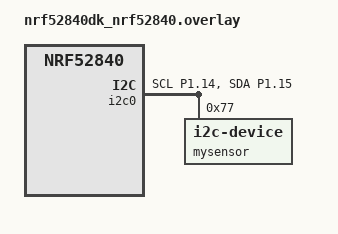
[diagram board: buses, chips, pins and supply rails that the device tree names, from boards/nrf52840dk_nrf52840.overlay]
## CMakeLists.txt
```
cmake_minimum_required(VERSION 3.20.0)

find_package(Zephyr REQUIRED HINTS $ENV{ZEPHYR_BASE}) 
project(sensor_i2c)

target_sources(app PRIVATE src/main.c)
```

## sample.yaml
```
sample:
  name: i2c communication with BME680 sensor 
  description: |
    This sample demonstrates how to communicate with a BME680 sensor over I2C.
    It reads temperature data from the sensor.
    The sample is designed to run on Nucleo F446RE and nRF52840 DK boards.
tests:
  zephyr_apps.i2c:
    tags:
      - i2c
    integration_platforms:
      - nucleo_f446re
      - nrf52840dk/nrf52840
    platform_allow:
      - nucleo_f446re
      - nrf52840dk/nrf52840


# Connection to the Nucleo board
Nucleo_f446re :
# Connection to the Nucleo board
  i2c1:
    pullup:
      SCL: GPIOB_8 #arduino D15
      SDA: GPIOB_9 #arduino D14

nrf52840dk :
# Connection to the Nucleo board
  i2c0:
    pullup:
      SCL: Port P1.14 #arduino D15
      SDA: Port P1.15 #arduino D14
  console:
    /dev/ttyACM0-SEGGER


# Connection to the BME680 sensor
bme680:
  i2c:
    bus: I2C1
    address: 0x77
    SDO: # To GND (0x76) or VCC(0x77): 3.3V
    SDA: # To arduino D14
    SCL: # To arduino D15
    VCC: VCC 5V
    GND: GND

build command:
  west build -p -b nucleo_f446re sensor_i2c/ 
  west build -p -b nrf52840dk/nrf52840 sensor_i2c

flash command:
  nrf52840dk/nrf52840: west flash -r jlink
  nucleo_f446re : west flash
```

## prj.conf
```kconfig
CONFIG_I2C=y
CONFIG_CBPRINTF_FP_SUPPORT=y
```

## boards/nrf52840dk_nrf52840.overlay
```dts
&i2c0 {
    status = "okay";
    pinctrl-0 = <&i2c0_default>;
	pinctrl-1 = <&i2c0_sleep>;
    pinctrl-names = "default", "sleep";
	mysensor: mysensor@77 {
		compatible = "i2c-device";
		status = "okay";
		reg = < 0x77 >;
	};
};

&pinctrl {
	/omit-if-no-ref/ i2c0_default: i2c0_default {
		group1  {
			psels = <NRF_PSEL(TWIM_SCL, 1, 14)>,
					<NRF_PSEL(TWIM_SDA, 1, 15)>;
		};
	};

	/omit-if-no-ref/ i2c0_sleep: i2c0_sleep {
		group1  {
			psels = <NRF_PSEL(TWIM_SCL, 1, 14)>,
					<NRF_PSEL(TWIM_SDA, 1, 15)>;
			low-power-enable;
		};
	};
};
```

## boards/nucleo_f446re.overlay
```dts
&i2c1 {
    mysensor: bme680@77 {
        compatible = "bosch,bme680";
        reg = <0x77>;  /* 0x76 or 0x77 depending on your sensor wiring */
        label = "BME680";
    };
};
```

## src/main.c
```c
#include <zephyr/kernel.h>
#include <zephyr/device.h>
#include <zephyr/devicetree.h>
#include <zephyr/sys/printk.h>
#include <zephyr/drivers/i2c.h>

/* Define the label of the sensor (should match your overlay or board definition) */
#define BME680_NODE DT_NODELABEL(mysensor)

/* Create a struct for device and address from DTS */
static const struct i2c_dt_spec bme680 = I2C_DT_SPEC_GET(BME680_NODE);

int main(void)
{
    printk("BME680 raw I2C example\n");

    if (!device_is_ready(bme680.bus)) {
        printk("I2C bus not ready!\n");
        return 0;
    }

    /* BME680 register addresses (from datasheet) */
    const uint8_t BME680_REG_ID = 0xD0;   /* Chip ID Register */
    const uint8_t BME680_EXPECTED_ID = 0x61;

    uint8_t chip_id;
    int ret;

    /* Read chip ID */
    ret = i2c_write_read_dt(&bme680, &BME680_REG_ID, sizeof(BME680_REG_ID),
                            &chip_id, sizeof(chip_id));
    if (ret != 0) {
        printk("Failed to read chip ID: %d\n", ret);
        return 0;
    }

    printk("Chip ID: 0x%02X\n", chip_id);
    if (chip_id != BME680_EXPECTED_ID) {
        printk("Unexpected chip ID! Is the sensor connected?\n");
        return 0;
    }

    printk("BME680 detected!\n");


    /* Read temperature registers (0x22, 0x23, 0x24) */

    /* ========  GET RAW TEMPERATURE :  adc value =============*/

    uint8_t buf[3];  // Buffer to hold temp_msb, temp_lsb, temp_xlsb
    uint8_t temp_reg = 0x22;  // Temperature MSB register address
    
    ret = i2c_write_read_dt(&bme680, &temp_reg, sizeof(temp_reg), buf, sizeof(buf));
    if (ret != 0) {
        printk("Failed to read temperature registers: %d\n", ret);
        return 0;
    }
    
    /* buf[0] = temp_msb
        * buf[1] = temp_lsb
        * buf[2] = temp_xlsb
        */
    uint32_t temp_adc = ((uint32_t)buf[0] << 12) | ((uint32_t)buf[1] << 4) | ((uint32_t)buf[2] >> 4);
    
    printk("Raw temperature ADC value: %d\n", temp_adc);


    /* ========  CALIBRATION PARAMETERS =============*/

    uint8_t calib_data[3]; // For par_t2 (2 bytes) + par_t3 (1 byte)

    uint8_t reg_addr;

    // Read par_t1
    reg_addr = 0xE9;
    uint8_t par_t1_lsb_msb[2];
    i2c_write_read_dt(&bme680, &reg_addr, sizeof(reg_addr), par_t1_lsb_msb, sizeof(par_t1_lsb_msb));
    uint16_t par_t1 = ((uint16_t)par_t1_lsb_msb[1] << 8) | par_t1_lsb_msb[0];

    // Read par_t2 and par_t3
    reg_addr = 0x8A;
    i2c_write_read_dt(&bme680, &reg_addr, sizeof(reg_addr), calib_data, sizeof(calib_data));
    int16_t par_t2 = ((int16_t)calib_data[1] << 8) | calib_data[0]; // careful: signed
    int8_t par_t3 = (int8_t)calib_data[2];

    printk("Calibration params:\npar_t1 = %u\npar_t2 = %d\npar_t3 = %d\n", par_t1, par_t2, par_t3);


    /* ========  TEMPERATURE VALUE  =============*/
    float var1, var2;
    float t_fine, compensated_temp;
    /* Calculate temperature */
    /* Formulas from BME680 datasheet : bst-bme680-ds001.pdf*/
    var1 = (((float)temp_adc) / 16384.0f - ((float)par_t1) / 1024.0f) * ((float)par_t2);
    var2 = ((((float)temp_adc) / 131072.0f - ((float)par_t1) / 8192.0f) * 
            (((float)temp_adc) / 131072.0f - ((float)par_t1) / 8192.0f)) * ((float)par_t3 * 16.0f);

    t_fine = var1 + var2;
    compensated_temp = t_fine / 5120.0f;

    printk("Compensated temperature: %.2f °C\n", compensated_temp);

   return 0;
}
```
